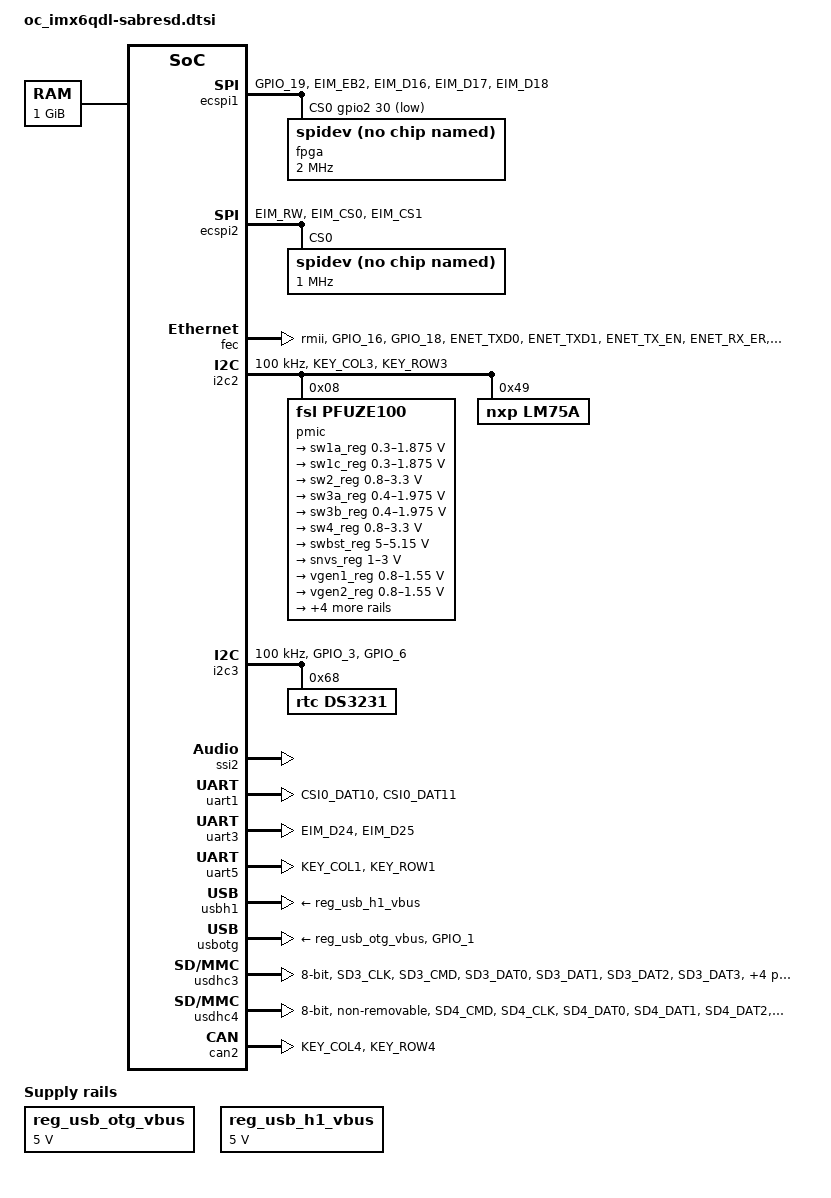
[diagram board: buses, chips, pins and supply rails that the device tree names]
/*
 * Copyright 2012-2016 Freescale Semiconductor, Inc.
 * Copyright 2011 Linaro Ltd.
 *
 * The code contained herein is licensed under the GNU General Public
 * License. You may obtain a copy of the GNU General Public License
 * Version 2 or later at the following locations:
 *
 * http://www.opensource.org/licenses/gpl-license.html
 * http://www.gnu.org/copyleft/gpl.html
 */

#include <dt-bindings/gpio/gpio.h>
#include <dt-bindings/input/input.h>

/ {

	chosen {
		stdout-path = &uart1;
	};

	memory: memory {
		reg = <0x10000000 0x40000000>;
	};

regulators {
		compatible = "simple-bus";
		#address-cells = <1>;
		#size-cells = <0>;

		reg_usb_otg_vbus: regulator@0 {
			compatible = "regulator-fixed";
			reg = <0>;
			regulator-name = "usb_otg_vbus";
			regulator-min-microvolt = <5000000>;
			regulator-max-microvolt = <5000000>;
			//gpio = <&gpio3 22 0>;
			//enable-active-high;
			//vin-supply = <&swbst_reg>;
		};

		reg_usb_h1_vbus: regulator@1 {
			compatible = "regulator-fixed";
			reg = <1>;
			regulator-name = "usb_h1_vbus";
			regulator-min-microvolt = <5000000>;
			regulator-max-microvolt = <5000000>;
			//gpio = <&gpio7 0 0>;
			//enable-active-high;
			//vin-supply = <&swbst_reg>;
		};

	};

	//gpio-keys {
	//	compatible = "gpio-keys";
	//	pinctrl-names = "default";
	//	pinctrl-0 = <&pinctrl_gpio_keys>;
    //
	//	xxxxxx {
	//		label = "xxxx";
	//		gpios = <&gpio6 8 xxxxxxxx>;
	//		gpio-key,wakeup;
	//		linux,code = <KEY_xxx>;
	//	};
	//};

};

//to be fixed
&ecspi1 {
	fsl,spi-num-chipselects = <1>;
	//cs-gpios = <0>,<0>,<0>;
	cs-gpios = <&gpio2 30 GPIO_ACTIVE_LOW>;
	pinctrl-names = "default";
	pinctrl-0 = <&pinctrl_ecspi1>;
	status = "okay";

	// to be done
//	adc0@0 {
//		#address-cells = <1>;
//		#size-cells = <1>;
//		compatible = "spidev", "spimh";
//		spi-max-frequency = <2000000>;
//		reg = <0>;
//	};	
//	adc1@1 {
//		#address-cells = <1>;
//		#size-cells = <1>;
//		compatible = "spidev", "spimh";
//		spi-max-frequency = <2000000>;
//		reg = <1>;
//	};

//	adc2@2 {
//		#address-cells = <1>;
//		#size-cells = <1>;
//		compatible = "spidev", "spimh";
//		spi-max-frequency = <2000000>;
//		reg = <2>;
//	};
//
	fpga@0 {
		#address-cells = <1>;
		#size-cells = <1>;
		compatible = "spidev", "spimh";
		spi-max-frequency = <2000000>;
		reg = <0>;
	};	
};

//to be fixed
&ecspi2 {
	fsl,spi-num-chipselects = <1>;
	cs-gpios = <0>;
	pinctrl-names = "default";
	pinctrl-0 = <&pinctrl_ecspi2>;
	status = "okay";

	// to be done
	spidev@0 {
		#address-cells = <1>;
		#size-cells = <1>;
		compatible = "spidev";
		spi-max-frequency = <1000000>;
		reg = <0>;
	};	

};

//okok
&fec {
	pinctrl-names = "default";
	pinctrl-0 = <&pinctrl_enet>;
	phy-mode = "rmii";
	phy-reset-gpios = <&gpio1 23 0>;
	phy-reset-duration = <1>;
	fsl,magic-packet;
	status = "okay";
};

&gpc {
	fsl,ldo-bypass = <1>;
};

&i2c2 {
	clock-frequency = <100000>;
	pinctrl-names = "default";
	pinctrl-0 = <&pinctrl_i2c2>;
	status = "okay";

	pmic: pfuze100@08 {
		compatible = "fsl,pfuze100";
		reg = <0x08>;

		regulators {
			sw1a_reg: sw1ab {
				regulator-min-microvolt = <300000>;
				regulator-max-microvolt = <1875000>;
				regulator-boot-on;
				regulator-always-on;
				regulator-ramp-delay = <6250>;
			};

			sw1c_reg: sw1c {
				regulator-min-microvolt = <300000>;
				regulator-max-microvolt = <1875000>;
				regulator-boot-on;
				regulator-always-on;
				regulator-ramp-delay = <6250>;
			};

			sw2_reg: sw2 {
				regulator-min-microvolt = <800000>;
				regulator-max-microvolt = <3300000>;
				regulator-boot-on;
				regulator-always-on;
				regulator-ramp-delay = <6250>;
			};

			sw3a_reg: sw3a {
				regulator-min-microvolt = <400000>;
				regulator-max-microvolt = <1975000>;
				regulator-boot-on;
				regulator-always-on;
			};

			sw3b_reg: sw3b {
				regulator-min-microvolt = <400000>;
				regulator-max-microvolt = <1975000>;
				regulator-boot-on;
				regulator-always-on;
			};

			sw4_reg: sw4 {
				regulator-min-microvolt = <800000>;
				regulator-max-microvolt = <3300000>;
			};

			swbst_reg: swbst {
				regulator-min-microvolt = <5000000>;
				regulator-max-microvolt = <5150000>;
			};

			snvs_reg: vsnvs {
				regulator-min-microvolt = <1000000>;
				regulator-max-microvolt = <3000000>;
				regulator-boot-on;
				regulator-always-on;
			};

			vref_reg: vrefddr {
				regulator-boot-on;
				regulator-always-on;
			};

			vgen1_reg: vgen1 {
				regulator-min-microvolt = <800000>;
				regulator-max-microvolt = <1550000>;
			};

			vgen2_reg: vgen2 {
				regulator-min-microvolt = <800000>;
				regulator-max-microvolt = <1550000>;
			};

			vgen3_reg: vgen3 {
				regulator-min-microvolt = <1800000>;
				regulator-max-microvolt = <3300000>;
			};

			vgen4_reg: vgen4 {
				regulator-min-microvolt = <1800000>;
				regulator-max-microvolt = <3300000>;
				regulator-always-on;
			};

			vgen5_reg: vgen5 {
				regulator-min-microvolt = <1800000>;
				regulator-max-microvolt = <3300000>;
				regulator-always-on;
			};

			vgen6_reg: vgen6 {
				regulator-min-microvolt = <1800000>;
				regulator-max-microvolt = <3300000>;
				regulator-always-on;
			};
		};
	};

	lm75a@49 {
		compatible = "nxp,lm75a";
		reg = <0x49>;
	};
};

&i2c3 {
	clock-frequency = <100000>;
	pinctrl-names = "default";
	pinctrl-0 = <&pinctrl_i2c3>;
	status = "okay";
	
	ds3231@68 {
		compatible = "rtc,ds3231";
		reg = <0x68>;
	};
};

&iomuxc {
	pinctrl-names = "default";
	pinctrl-0 = <&pinctrl_hog>;

	imx6qdl-sabresd {
		pinctrl_hog: hoggrp {
			fsl,pins = <
				/*OUTPUT*/                              
				//MX6QDL_PAD_NANDF_CS0__GPIO6_IO11			0x4001B0B0		// PCIE_DISABL
				//MX6QDL_PAD_NANDF_CS1__GPIO6_IO14			0x4001B0B0		// PCIE_RST  
				MX6QDL_PAD_NANDF_CS2__GPIO6_IO15            0x4001B0B0		// 3.3V_OUT2
				MX6QDL_PAD_GPIO_7__GPIO1_IO07              0x4001B0B0		// /SLEEP : step motor drv sleep
				MX6QDL_PAD_DISP0_DAT16__GPIO5_IO10			0x4001B0B0  	// /X_RST
				MX6QDL_PAD_DISP0_DAT23__GPIO5_IO17			0x4001B0B0  	// /Y_RST
				MX6QDL_PAD_DISP0_DAT11__GPIO5_IO05			0x4001B0B0   	// /Z_RST
				MX6QDL_PAD_DISP0_DAT13__GPIO5_IO07         0x4001B0B0		// /RESET : step motor drv reset					
				MX6QDL_PAD_DISP0_DAT8__GPIO4_IO29          0x4001B0B0		// 12V_EN
				MX6QDL_PAD_DISP0_DAT1__GPIO4_IO22          0x4001B0B0		// MX 
				MX6QDL_PAD_DISP0_DAT3__GPIO4_IO24          0x4001B0B0		// MY
				MX6QDL_PAD_DI0_PIN15__GPIO4_IO17           0x4001B0B0		// MZ
				MX6QDL_PAD_DI0_DISP_CLK__GPIO4_IO16			0x4001B0B0		// 3231 RST
				MX6QDL_PAD_SD1_DAT3__GPIO1_IO21				0x4001B0B0		// WDI
				MX6QDL_PAD_DISP0_DAT6__GPIO4_IO27          0x4001B0B0		// DM_VDD_EN
				MX6QDL_PAD_DISP0_DAT21__GPIO5_IO15         0x4001B0B0		// DMX_EN
				MX6QDL_PAD_DISP0_DAT2__GPIO4_IO23          0x4001B0B0		// DMY_EN2
				MX6QDL_PAD_DISP0_DAT10__GPIO4_IO31         0x4001B0B0		// DMZ_EN
				MX6QDL_PAD_NANDF_CLE__GPIO6_IO07           0x4001B0B0		// X_SYNC
				MX6QDL_PAD_NANDF_WP_B__GPIO6_IO09          0x4001B0B0		// Y_SYNC
				MX6QDL_PAD_SD1_CLK__GPIO1_IO20             0x4001B0B0		// Z_SYNC
				MX6QDL_PAD_DISP0_DAT22__GPIO5_IO16         0x4001B0B0		// B1
				MX6QDL_PAD_DISP0_DAT14__GPIO5_IO08         0x4001B0B0		// B0
				MX6QDL_PAD_DISP0_DAT17__GPIO5_IO11         0x4001B0B0		// A1
				MX6QDL_PAD_DISP0_DAT9__GPIO4_IO30          0x4001B0B0		// A0
				MX6QDL_PAD_DISP0_DAT12__GPIO5_IO06         0x4001B0B0		// BPHASE
				MX6QDL_PAD_DISP0_DAT5__GPIO4_IO26          0x4001B0B0       // BENBL
				MX6QDL_PAD_DISP0_DAT7__GPIO4_IO28          0x4001B0B0		// AENBL
				MX6QDL_PAD_DISP0_DAT0__GPIO4_IO21          0x4001B0B0		// APHASE
				MX6QDL_PAD_DI0_PIN2__GPIO4_IO18            0x4001B0B0		// DECAY
				MX6QDL_PAD_GPIO_4__GPIO1_IO04              0x4001B0B0		// DAC LDACn
				MX6QDL_PAD_SD2_DAT0__GPIO1_IO15            0x4001B0B0		// CLOCK_EN
				MX6QDL_PAD_SD2_CLK__GPIO1_IO10             0x4001B0B0		// /GPS_RESET 必须弱上拉
				MX6QDL_PAD_CSI0_DATA_EN__GPIO5_IO20        0x4001B0B0		// CCE
				MX6QDL_PAD_CSI0_DAT12__GPIO5_IO30          0x4001B0B0		//FPGA data FIFO的写满告警，高电平写满 - IN
				MX6QDL_PAD_CSI0_MCLK__GPIO5_IO19      	   0x4001B0B0		//FPGA data FIFO的写满100点指示，高电平有效  - IN
				MX6QDL_PAD_CSI0_DAT4__GPIO5_IO22           0x4001B0B0		//控制ADC复位，低电平复位
				MX6QDL_PAD_CSI0_DAT5__GPIO5_IO23           0x4001B0B0		//控制ADC同步采样启动，需要保持1秒高电平

				/*INPUT*/
				MX6QDL_PAD_DI0_PIN3__GPIO4_IO19            0x4001B0B0		// PRODUCTION CK 感觉没必要，必然是有的
				MX6QDL_PAD_NANDF_CS3__GPIO6_IO16           0x4001B0B0		//	/FALUT X: Logic low when drv8812 in fault condition
				MX6QDL_PAD_DISP0_DAT20__GPIO5_IO14         0x4001B0B0		// 3231 INT
				MX6QDL_PAD_SD2_DAT3__GPIO1_IO12            0x4001B0B0		// 1PPS GPS INT
				MX6QDL_PAD_NANDF_ALE__GPIO6_IO08           0x4001B0B0		// DRDY
				MX6QDL_PAD_KEY_COL0__GPIO4_IO06            0x4001B0B0		//FPGA 电源使能开关，高电平打开电源 - OUT
				MX6QDL_PAD_GPIO_8__GPIO1_IO08              0x4001B0B0		//FPGA 复位，低电平有效  - OUT
				MX6QDL_PAD_CSI0_DAT15__GPIO6_IO01          0x4001B0B0		//FPGA 备用
				MX6QDL_PAD_CSI0_PIXCLK__GPIO5_IO18   	   0x4001B0B0		//FPGA 备用
				MX6QDL_PAD_CSI0_VSYNC__GPIO5_IO21          0x4001B0B0		//FPGA 备用
                MX6QDL_PAD_SD3_CLK__GPIO7_IO03             0x4001B0B0	    //Y向限位开关
                MX6QDL_PAD_SD3_CMD__GPIO7_IO02             0x4001B0B0   	//Y向限位开关
                MX6QDL_PAD_SD3_DAT0__GPIO7_IO04            0x4001B0B0   	//Z向限位开关
                MX6QDL_PAD_SD3_DAT1__GPIO7_IO05            0x4001B0B0   	//Z向限位开关
                MX6QDL_PAD_SD3_DAT2__GPIO7_IO06            0x4001B0B0   	//X向限位开关
                MX6QDL_PAD_SD3_DAT3__GPIO7_IO07            0x4001B0B0	    //X向限位开关
				>;
		};
             
             
		//done
		pinctrl_ecspi1: ecspi1grp {
			fsl,pins = <
				//MX6QDL_PAD_EIM_EB2__ECSPI1_SS0             0x0001B0B0
				//MX6QDL_PAD_DISP0_DAT15__ECSPI1_SS1         0x0001B0B0
				//MX6QDL_PAD_KEY_ROW2__ECSPI1_SS2            0x0001B0B0
				//MX6QDL_PAD_EIM_EB2__GPIO2_IO30             0x100b1
				//MX6QDL_PAD_DISP0_DAT15__GPIO5_IO09         0x100b1
				//MX6QDL_PAD_KEY_ROW2__GPIO4_IO11            0x100b1
				//MX6QDL_PAD_EIM_D16__ECSPI1_SCLK            0x100b1
				//MX6QDL_PAD_EIM_D17__ECSPI1_MISO            0x100b1
				//MX6QDL_PAD_EIM_D18__ECSPI1_MOSI            0x100b1
				MX6QDL_PAD_GPIO_19__GPIO4_IO05             0x0001B0B0	
				MX6QDL_PAD_EIM_EB2__GPIO2_IO30             0x0001B0B1
//				MX6QDL_PAD_DISP0_DAT15__GPIO5_IO09         0x0001B0B1
//				MX6QDL_PAD_KEY_ROW2__GPIO4_IO11            0x0001B0B1
				MX6QDL_PAD_EIM_D16__ECSPI1_SCLK            0x0001B0B1
				MX6QDL_PAD_EIM_D17__ECSPI1_MISO            0x0001B0B1
				MX6QDL_PAD_EIM_D18__ECSPI1_MOSI            0x0001B0B1
			>;
		};
		
		//done
		pinctrl_ecspi2: ecspi2grp {
			fsl,pins = <
				MX6QDL_PAD_EIM_RW__ECSPI2_SS0              0x0000B0B1
				MX6QDL_PAD_EIM_CS0__ECSPI2_SCLK            0x0000B0B1
				MX6QDL_PAD_EIM_CS1__ECSPI2_MOSI            0x0000B0B1
			>;
		};
		
		//done
		pinctrl_enet: enetgrp {
			fsl,pins = <
				MX6QDL_PAD_GPIO_16__ENET_REF_CLK           0x0001B0B0
				MX6QDL_PAD_GPIO_18__GPIO7_IO13             0x0001B0B0
				MX6QDL_PAD_ENET_TXD0__ENET_TX_DATA0        0x0001B0B0
				MX6QDL_PAD_ENET_TXD1__ENET_TX_DATA1        0x0001B0B0
				MX6QDL_PAD_ENET_TX_EN__ENET_TX_EN          0x0001B0B0
				MX6QDL_PAD_ENET_RX_ER__ENET_RX_ER          0x0001B0B0
				MX6QDL_PAD_ENET_RXD0__ENET_RX_DATA0        0x0001B0B0
				MX6QDL_PAD_ENET_RXD1__ENET_RX_DATA1        0x0001B0B0
				MX6QDL_PAD_ENET_REF_CLK__GPIO1_IO23        0x0001B0B0
				MX6QDL_PAD_ENET_CRS_DV__ENET_RX_EN         0x0001B0B0
				MX6QDL_PAD_ENET_MDC__ENET_MDC              0x0001B0B0
				MX6QDL_PAD_ENET_MDIO__ENET_MDIO            0x0001B0B0
			>;
		};

		////to be done
		//pinctrl_gpio_keys: gpio_keysgrp {
		//	fsl,pins = <
		//		
		//	>;
		//};
		
		//done
		pinctrl_i2c2: i2c2grp {
			fsl,pins = <
				MX6QDL_PAD_KEY_COL3__I2C2_SCL              0x4001b8b1
				MX6QDL_PAD_KEY_ROW3__I2C2_SDA              0x4001b8b1
			>;
		};

		//done
		pinctrl_i2c3: i2c3grp {
			fsl,pins = <
				MX6QDL_PAD_GPIO_3__I2C3_SCL                0x4001b8b1
                MX6QDL_PAD_GPIO_6__I2C3_SDA                0x4001b8b1
			>;
		};
		
		
		pinctrl_flexcan2: flexcan2grp {
			fsl,pins = <
				MX6QDL_PAD_KEY_COL4__FLEXCAN2_TX           0x0001B0B1
				MX6QDL_PAD_KEY_ROW4__FLEXCAN2_RX           0x000130B1
			>;
		};
		
		pinctrl_uart1: uart1grp {
			fsl,pins = <
				MX6QDL_PAD_CSI0_DAT10__UART1_TX_DATA       0x0001B0B0
				MX6QDL_PAD_CSI0_DAT11__UART1_RX_DATA       0x0001B0B0
			>;
		};
 		pinctrl_uart3: uart3grp {
			fsl,pins = <
				MX6QDL_PAD_EIM_D24__UART3_TX_DATA          0x0001B0B0
				MX6QDL_PAD_EIM_D25__UART3_RX_DATA          0x0001B0B0
			>;
		};
		pinctrl_uart5: uart5grp {
			fsl,pins = <
				MX6QDL_PAD_KEY_COL1__UART5_TX_DATA         0x0001B0B0
				MX6QDL_PAD_KEY_ROW1__UART5_RX_DATA         0x0001B0B0
			>;
		};

		pinctrl_usdhc2: usdhc2grp {
			fsl,pins = <
			
			>;
		};

		pinctrl_usdhc3: usdhc3grp {
			fsl,pins = <
				MX6QDL_PAD_SD3_CLK__SD3_CLK                0x0001B0B1
				MX6QDL_PAD_SD3_CMD__SD3_CMD                0x0001B0B1
                MX6QDL_PAD_SD3_DAT0__SD3_DATA0             0x0001B0B1
                MX6QDL_PAD_SD3_DAT1__SD3_DATA1             0x0001B0B1
                MX6QDL_PAD_SD3_DAT2__SD3_DATA2             0x0001B0B1
                MX6QDL_PAD_SD3_DAT3__SD3_DATA3             0x0001B0B1
				MX6QDL_PAD_SD3_RST__GPIO7_IO08             0x0001B0B1
				MX6QDL_PAD_KEY_COL2__GPIO4_IO10            0x0001B0B1
			>;
		};
		
		pinctrl_usdhc4: usdhc4grp {
			fsl,pins = <
				// emmc 
				MX6QDL_PAD_SD4_CMD__SD4_CMD		0x17059
				MX6QDL_PAD_SD4_CLK__SD4_CLK		0x10059
				MX6QDL_PAD_SD4_DAT0__SD4_DATA0		0x17059
				MX6QDL_PAD_SD4_DAT1__SD4_DATA1		0x17059
				MX6QDL_PAD_SD4_DAT2__SD4_DATA2		0x17059
				MX6QDL_PAD_SD4_DAT3__SD4_DATA3		0x17059
				MX6QDL_PAD_SD4_DAT4__SD4_DATA4		0x17059
				MX6QDL_PAD_SD4_DAT5__SD4_DATA5		0x17059
				MX6QDL_PAD_SD4_DAT6__SD4_DATA6		0x17059
				MX6QDL_PAD_SD4_DAT7__SD4_DATA7		0x17059
			>;
		};

		//usb
		pinctrl_usbh1: usbh1grp {
			fsl,pins = <
				MX6QDL_PAD_EIM_D30__USB_H1_OC              0x0001B0B0
				MX6QDL_PAD_SD3_DAT5__GPIO7_IO00            0x0001B0B0
			>;
		};
		
		pinctrl_usbotg: usbotggrp {
			fsl,pins = <
				//MX6QDL_PAD_EIM_D22__GPIO3_IO22             0x000130B0		//OTG_PWR_EN
				MX6QDL_PAD_GPIO_1__USB_OTG_ID              0x0001B0B0
				//MX6QDL_PAD_EIM_D21__USB_OTG_OC             0x0001B0B0
			>;
		};
		
	};

};

&snvs_poweroff {
	status = "okay";
};

&ssi2 {
	status = "okay";
};

&uart1 {
	pinctrl-names = "default";
	pinctrl-0 = <&pinctrl_uart1>;
	status = "okay";
};
&uart3 {
		pinctrl-names = "default";
		pinctrl-0 = <&pinctrl_uart3>;
		status = "okay";
};
&uart5 {
		pinctrl-names = "default";
		pinctrl-0 = <&pinctrl_uart5>;
		status = "okay";
};

&usbh1 {
	vbus-supply = <&reg_usb_h1_vbus>;
	disable-over-current; // to be checked
	status = "okay";
};

&usbotg {
	vbus-supply = <&reg_usb_otg_vbus>;
	pinctrl-names = "default";
	pinctrl-0 = <&pinctrl_usbotg>;
	disable-over-current;
	status = "okay";
};

&usdhc2 {
	pinctrl-names = "default";
	pinctrl-0 = <&pinctrl_usdhc2>;
	bus-width = <8>;
	no-1-8-v;
	keep-power-in-suspend;
	enable-sdio-wakeup;
	status = "disabled";
};

&usdhc3 {
//sdcard
	pinctrl-names = "default";
	pinctrl-0 = <&pinctrl_usdhc3>;
	bus-width = <8>;
	cd-gpios = <&gpio4 10 GPIO_ACTIVE_LOW>;
	wp-gpios = <&gpio7 8 GPIO_ACTIVE_HIGH>;
	no-1-8-v;
	keep-power-in-suspend;
	enable-sdio-wakeup;
	status = "okay";
};

&usdhc4 {
//emmc
	pinctrl-names = "default";
	pinctrl-0 = <&pinctrl_usdhc4>;
	bus-width = <8>;
	non-removable;
	no-1-8-v;
	keep-power-in-suspend;
	status = "okay";
};
&wdog2 {
	status = "disabled";
};

&can2 {
        pinctrl-names = "default";
        pinctrl-0 = <&pinctrl_flexcan2>;
        status = "okay";
};
